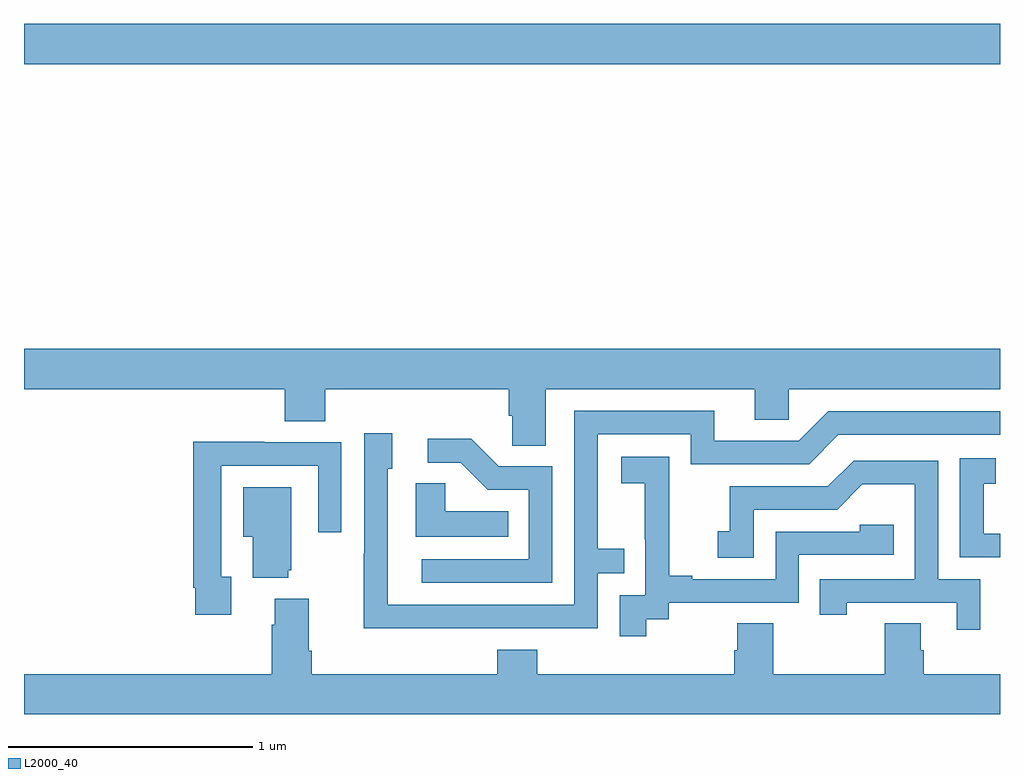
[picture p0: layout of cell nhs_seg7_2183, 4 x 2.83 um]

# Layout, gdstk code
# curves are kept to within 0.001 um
import gdstk
lib = gdstk.Library(unit=1e-6, precision=1e-09)
def R(c, l, rs):  # rectangles x0, y0, x1, y1
    for r in rs: c.add(gdstk.rectangle(r[:2], r[2:], *l))
def P(c, l, *ps):  # polygons
    for p in ps: c.add(gdstk.Polygon(p, *l))
L2000_40 = (2000, 40)

nhs_seg7_2183 = lib.new_cell('nhs_seg7_2183')
R(nhs_seg7_2183, L2000_40, [(253,1063.22,257,1063.384)])
P(nhs_seg7_2183, L2000_40, [(255.139,1061.888),(255.995,1061.888),(255.995,1061.761),(256.134,1061.761),(256.134,1061.888),(257,1061.888),(257,1062.052),(253,1062.052),(253,1061.888),(254.069,1061.888),(254.069,1061.755),(254.234,1061.755),(254.234,1061.888),(254.987,1061.888),(254.987,1061.779),(255,1061.779),(255,1061.656),(255.139,1061.656)],
  [(254.855,1060.908),(255.351,1060.908),(255.351,1061.133),(255.461,1061.133),(255.461,1061.234),(255.351,1061.234),(255.351,1061.703),(255.732,1061.703),(255.732,1061.58),(256.218,1061.58),(256.338,1061.7),(257,1061.7),(257,1061.796),(256.296,1061.796),(256.176,1061.676),(255.829,1061.676),(255.829,1061.799),(255.255,1061.799),(255.255,1061.004),(254.49,1061.004),(254.49,1061.562),(254.509,1061.562),(254.509,1061.707),(254.394,1061.707),(254.394,1061.213),(254.392,1061.213),(254.392,1060.907)],
  [(255.165,1061.571),(254.946,1061.571),(254.833,1061.684),(254.655,1061.684),(254.655,1061.586),(254.789,1061.586),(254.9,1061.475),(255.069,1061.475),(255.069,1061.19),(254.631,1061.19),(254.631,1061.094),(255.165,1061.094)],
  [(253.849,1061.118),(253.809,1061.118),(253.809,1061.574),(254.205,1061.574),(254.205,1061.301),(254.301,1061.301),(254.301,1061.67),(253.985,1061.67),(253.985,1061.672),(253.693,1061.672),(253.693,1061.074),(253.701,1061.074),(253.701,1060.962),(253.849,1060.962)],
  [(255.55,1060.945),(255.642,1060.945),(255.642,1061.013),(256.176,1061.013),(256.176,1061.208),(256.565,1061.208),(256.565,1061.331),(256.425,1061.331),(256.425,1061.304),(256.08,1061.304),(256.08,1061.109),(255.739,1061.109),(255.739,1061.122),(255.644,1061.122),(255.644,1061.405),(255.645,1061.405),(255.645,1061.611),(255.447,1061.611),(255.447,1061.501),(255.545,1061.501),(255.545,1061.273),(255.546,1061.273),(255.546,1061.043),(255.441,1061.043),(255.441,1060.875),(255.55,1060.875)],
  [(257,1061.295),(256.933,1061.295),(256.933,1061.499),(256.982,1061.499),(256.982,1061.605),(256.836,1061.605),(256.836,1061.199),(257,1061.199)],
  [(256.92,1061.109),(256.746,1061.109),(256.746,1061.595),(256.4,1061.595),(256.295,1061.49),(255.892,1061.49),(255.892,1061.305),(255.843,1061.305),(255.843,1061.196),(255.99,1061.196),(255.99,1061.394),(256.332,1061.394),(256.436,1061.498),(256.65,1061.498),(256.65,1061.109),(256.261,1061.109),(256.261,1060.962),(256.372,1060.962),(256.372,1061.013),(256.823,1061.013),(256.823,1060.902),(256.92,1060.902)],
  [(254.984,1061.386),(254.727,1061.386),(254.727,1061.501),(254.606,1061.501),(254.606,1061.282),(254.984,1061.282)],
  [(254.084,1061.145),(254.095,1061.145),(254.095,1061.485),(253.898,1061.485),(253.898,1061.282),(253.937,1061.282),(253.937,1061.114),(254.084,1061.114)],
  [(257,1060.72),(256.688,1060.72),(256.688,1060.818),(256.675,1060.818),(256.675,1060.928),(256.528,1060.928),(256.528,1060.72),(256.071,1060.72),(256.071,1060.928),(255.923,1060.928),(255.923,1060.818),(255.911,1060.818),(255.911,1060.72),(255.104,1060.72),(255.104,1060.819),(254.939,1060.819),(254.939,1060.72),(254.18,1060.72),(254.18,1060.816),(254.167,1060.816),(254.167,1061.029),(254.027,1061.029),(254.027,1060.922),(254.015,1060.922),(254.015,1060.72),(253,1060.72),(253,1060.556),(257,1060.556)])

lib.write_gds('nhs_seg7_2183.gds')
